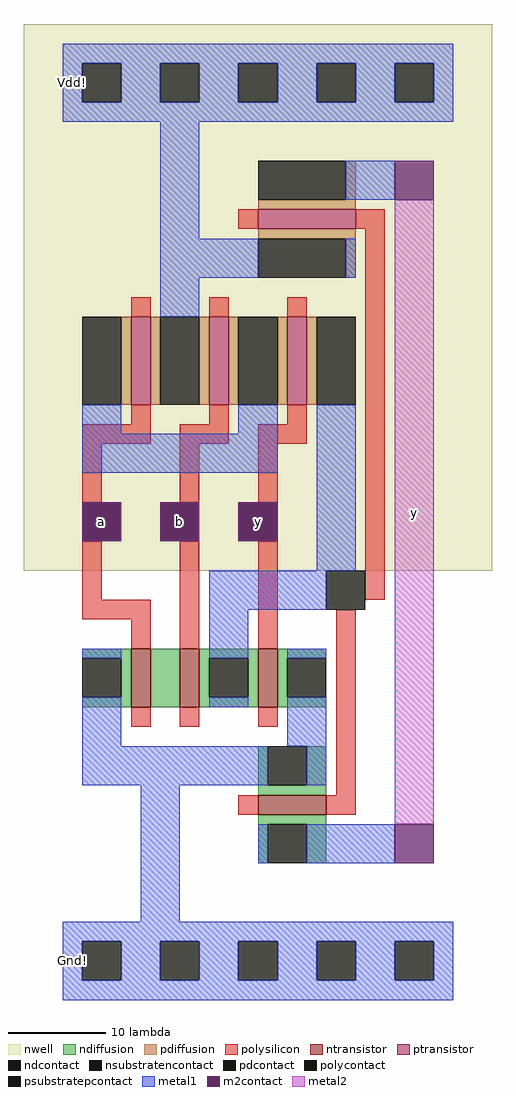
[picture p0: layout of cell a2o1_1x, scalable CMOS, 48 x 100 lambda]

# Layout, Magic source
magic
tech scmos
<< nwell >>
rect -6 40 42 96
<< ntransistor >>
rect 5 26 7 32
rect 10 26 12 32
rect 18 26 20 32
rect 18 15 25 17
<< ptransistor >>
rect 18 75 28 77
rect 5 57 7 66
rect 13 57 15 66
rect 21 57 23 66
<< ndiffusion >>
rect 0 31 5 32
rect 4 27 5 31
rect 0 26 5 27
rect 7 26 10 32
rect 12 31 18 32
rect 12 27 13 31
rect 17 27 18 31
rect 12 26 18 27
rect 20 31 25 32
rect 20 27 21 31
rect 20 26 25 27
rect 18 18 19 22
rect 23 18 25 22
rect 18 17 25 18
rect 18 14 25 15
rect 18 10 19 14
rect 23 10 25 14
<< pdiffusion >>
rect 27 78 28 82
rect 18 77 28 78
rect 18 74 28 75
rect 27 70 28 74
rect 4 57 5 66
rect 7 57 8 66
rect 12 57 13 66
rect 15 57 16 66
rect 20 57 21 66
rect 23 57 24 66
<< ndcontact >>
rect 0 27 4 31
rect 13 27 17 31
rect 21 27 25 31
rect 19 18 23 22
rect 19 10 23 14
<< pdcontact >>
rect 18 78 27 82
rect 18 70 27 74
rect 0 57 4 66
rect 8 57 12 66
rect 16 57 20 66
rect 24 57 28 66
<< psubstratepcontact >>
rect 0 -2 4 2
rect 8 -2 12 2
rect 16 -2 20 2
rect 24 -2 28 2
rect 32 -2 36 2
<< nsubstratencontact >>
rect 0 88 4 92
rect 8 88 12 92
rect 16 88 20 92
rect 24 88 28 92
rect 32 88 36 92
<< polysilicon >>
rect 16 75 18 77
rect 28 75 31 77
rect 5 66 7 68
rect 13 66 15 68
rect 21 66 23 68
rect 5 55 7 57
rect 13 55 15 57
rect 21 55 23 57
rect 0 53 7 55
rect 10 53 15 55
rect 18 53 23 55
rect 0 47 2 53
rect 10 47 12 53
rect 18 47 20 53
rect 0 37 2 43
rect 0 35 7 37
rect 5 32 7 35
rect 10 32 12 43
rect 18 32 20 43
rect 29 37 31 75
rect 5 24 7 26
rect 10 24 12 26
rect 18 24 20 26
rect 26 17 28 36
rect 16 15 18 17
rect 25 15 28 17
<< polycontact >>
rect 0 43 4 47
rect 8 43 12 47
rect 16 43 20 47
rect 25 36 29 40
<< metal1 >>
rect -2 92 38 94
rect -2 88 0 92
rect 4 88 8 92
rect 12 88 16 92
rect 20 88 24 92
rect 28 88 32 92
rect 36 88 38 92
rect -2 86 38 88
rect 8 74 12 86
rect 27 78 32 82
rect 8 70 18 74
rect 27 70 28 74
rect 8 66 12 70
rect 0 54 4 57
rect 16 54 20 57
rect 0 50 20 54
rect 24 40 28 57
rect 13 36 25 40
rect 0 31 4 32
rect 0 22 4 27
rect 13 31 17 36
rect 13 26 17 27
rect 21 31 25 32
rect 21 22 25 27
rect 0 18 19 22
rect 23 18 25 22
rect 6 4 10 18
rect 18 10 19 14
rect 23 10 32 14
rect -2 2 38 4
rect -2 -2 0 2
rect 4 -2 8 2
rect 12 -2 16 2
rect 20 -2 24 2
rect 28 -2 32 2
rect 36 -2 38 2
rect -2 -4 38 -2
<< m2contact >>
rect 32 78 36 82
rect 0 43 4 47
rect 8 43 12 47
rect 16 43 20 47
rect 32 10 36 14
<< metal2 >>
rect 32 14 36 78
<< labels >>
rlabel m2contact 2 45 2 45 1 a
rlabel m2contact 10 45 10 45 1 b
rlabel m2contact 18 45 18 45 1 y
rlabel metal2 34 46 34 46 1 y
rlabel metal1 -1 90 -1 90 3 Vdd!
rlabel metal1 -1 0 -1 0 2 Gnd!
<< end >>
